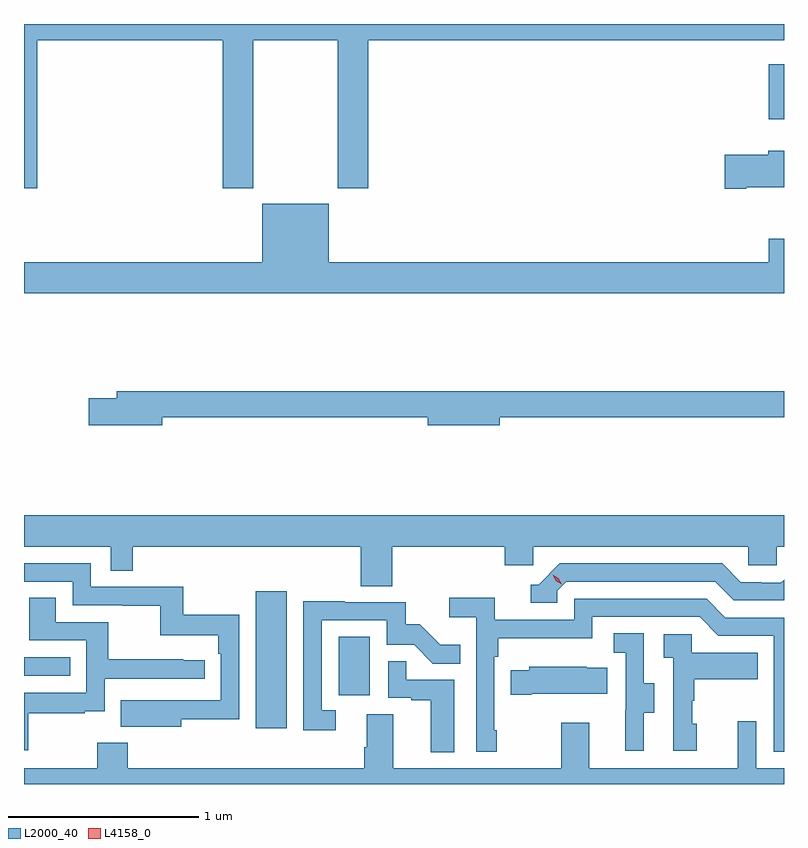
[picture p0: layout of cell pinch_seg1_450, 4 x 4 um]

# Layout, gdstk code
import gdstk
lib = gdstk.Library(unit=1e-6, precision=1e-09)
def R(c, l, rs):  # rectangles x0, y0, x1, y1
    for r in rs: c.add(gdstk.rectangle(r[:2], r[2:], *l))
def P(c, l, *ps):  # polygons
    for p in ps: c.add(gdstk.Polygon(p, *l))
L2000_40 = (2000, 40)
L4158_0 = (4158, 0)

pinch_seg1_450 = lib.new_cell('pinch_seg1_450')
R(pinch_seg1_450, L2000_40, [(1000.271,508.152,1000.432,508.873), (1000.706,508.326,1000.87,508.633), (999.05,508.428,999.293,508.524), (1002.971,511.358,1003.05,511.645)])
P(pinch_seg1_450, L2000_40, [(999.119,511.772),(1000.097,511.772),(1000.097,510.993),(1000.257,510.993),(1000.257,511.772),(1000.702,511.772),(1000.702,510.993),(1000.862,510.993),(1000.862,511.772),(1003.05,511.772),(1003.05,511.858),(999.05,511.858),(999.05,510.993),(999.119,510.993)],
  [(1002.85,510.998),(1003.05,510.998),(1003.05,511.192),(1002.968,511.192),(1002.968,511.169),(1002.738,511.169),(1002.738,510.991),(1002.85,510.991)],
  [(1003.05,510.728),(1002.971,510.728),(1002.971,510.604),(1000.654,510.604),(1000.654,510.913),(1000.304,510.913),(1000.304,510.604),(999.05,510.604),(999.05,510.44),(1003.05,510.44)],
  [(999.778,509.788),(1001.174,509.788),(1001.174,509.746),(1001.554,509.746),(1001.554,509.788),(1003.05,509.788),(1003.05,509.924),(999.539,509.924),(999.539,509.888),(999.39,509.888),(999.39,509.746),(999.778,509.746)],
  [(1000.988,509.108),(1001.579,509.108),(1001.579,509.01),(1001.73,509.01),(1001.73,509.108),(1002.861,509.108),(1002.861,509.01),(1003.011,509.01),(1003.011,509.108),(1003.05,509.108),(1003.05,509.272),(999.05,509.272),(999.05,509.108),(999.507,509.108),(999.507,508.981),(999.623,508.981),(999.623,509.108),(1000.823,509.108),(1000.823,508.9),(1000.988,508.9)],
  [(1001.856,508.875),(1001.904,508.923),(1002.687,508.923),(1002.786,508.824),(1003.05,508.824),(1003.05,508.934),(1003.033,508.917),(1002.93,508.917),(1002.93,508.92),(1002.823,508.92),(1002.724,509.019),(1001.871,509.019),(1001.76,508.908),(1001.717,508.908),(1001.717,508.812),(1001.856,508.812)],
  [(999.877,508.198),(1000.182,508.198),(1000.182,508.75),(999.889,508.75),(999.889,508.896),(999.402,508.896),(999.402,509.019),(999.05,509.019),(999.05,508.923),(999.306,508.923),(999.306,508.8),(999.571,508.8),(999.571,508.795),(999.768,508.795),(999.768,508.64),(1000.073,508.64),(1000.073,508.544),(1000.086,508.544),(1000.086,508.299),(999.773,508.299),(999.773,508.3),(999.559,508.3),(999.559,508.16),(999.877,508.16)],
  [(999.073,508.23),(999.371,508.23),(999.371,508.241),(999.474,508.241),(999.474,508.413),(1000,508.413),(1000,508.509),(999.887,508.509),(999.887,508.514),(999.494,508.514),(999.494,508.71),(999.217,508.71),(999.217,508.838),(999.077,508.838),(999.077,508.614),(999.378,508.614),(999.378,508.338),(999.05,508.338),(999.05,508.035),(999.073,508.035)],
  [(1001.539,508.141),(1001.526,508.141),(1001.526,508.529),(1001.546,508.529),(1001.546,508.625),(1002.042,508.625),(1002.042,508.737),(1002.606,508.737),(1002.705,508.638),(1002.996,508.638),(1002.996,508.029),(1003.05,508.029),(1003.05,508.734),(1002.742,508.734),(1002.643,508.833),(1001.946,508.833),(1001.946,508.722),(1001.528,508.722),(1001.528,508.838),(1001.289,508.838),(1001.289,508.736),(1001.43,508.736),(1001.43,508.029),(1001.539,508.029)],
  [(1000.69,508.245),(1000.617,508.245),(1000.617,508.719),(1000.959,508.719),(1000.959,508.59),(1001.104,508.59),(1001.202,508.492),(1001.345,508.492),(1001.345,508.591),(1001.241,508.591),(1001.134,508.698),(1001.058,508.698),(1001.058,508.815),(1000.739,508.815),(1000.739,508.82),(1000.521,508.82),(1000.521,508.14),(1000.69,508.14)],
  [(1002.313,508.234),(1002.367,508.234),(1002.367,508.389),(1002.312,508.389),(1002.312,508.652),(1002.153,508.652),(1002.153,508.549),(1002.216,508.549),(1002.216,508.245),(1002.215,508.245),(1002.215,508.032),(1002.313,508.032)],
  [(1002.592,508.176),(1002.567,508.176),(1002.567,508.295),(1002.577,508.295),(1002.577,508.409),(1002.911,508.409),(1002.911,508.549),(1002.564,508.549),(1002.564,508.647),(1002.417,508.647),(1002.417,508.523),(1002.468,508.523),(1002.468,508.032),(1002.592,508.032)],
  [(1001.314,508.407),(1001.063,508.407),(1001.063,508.505),(1000.968,508.505),(1000.968,508.311),(1001.089,508.311),(1001.089,508.299),(1001.192,508.299),(1001.192,508.025),(1001.314,508.025)],
  [(1001.722,508.334),(1002.119,508.334),(1002.119,508.471),(1002.011,508.471),(1002.011,508.474),(1001.709,508.474),(1001.709,508.456),(1001.611,508.456),(1001.611,508.327),(1001.722,508.327)],
  [(1003.05,507.94),(1002.903,507.94),(1002.903,508.189),(1002.806,508.189),(1002.806,507.94),(1002.025,507.94),(1002.025,508.18),(1001.878,508.18),(1001.878,507.94),(1000.993,507.94),(1000.993,508.226),(1000.853,508.226),(1000.853,508.052),(1000.841,508.052),(1000.841,507.94),(999.596,507.94),(999.596,508.075),(999.436,508.075),(999.436,507.94),(999.05,507.94),(999.05,507.858),(1003.05,507.858)])
P(pinch_seg1_450, L4158_0, [(1001.879,508.909),(1001.848,508.928),(1001.832,508.96),(1001.832,508.96),(1001.832,508.96),(1001.863,508.941),(1001.88,508.909),(1001.88,508.909)])

lib.write_gds('pinch_seg1_450.gds')
